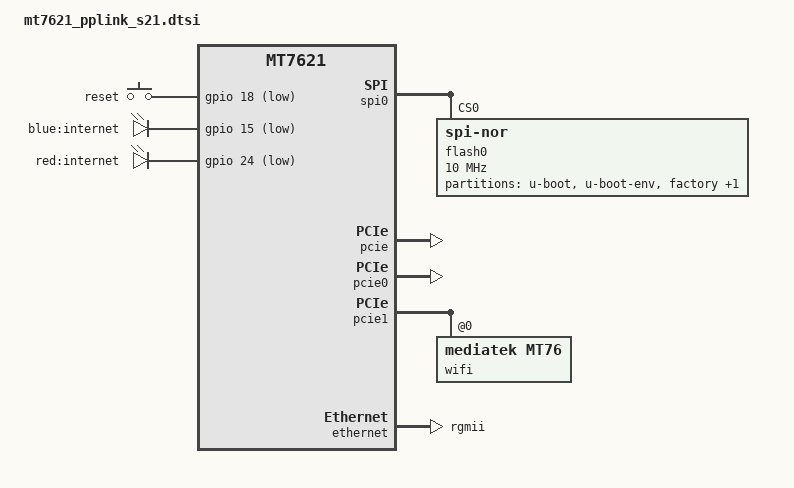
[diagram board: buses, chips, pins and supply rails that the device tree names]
#include "mt7621.dtsi"

#include <dt-bindings/gpio/gpio.h>
#include <dt-bindings/input/input.h>
#include <dt-bindings/leds/common.h>

/ {

	aliases {
		led-boot = &led_internet_blue;
		led-failsafe = &led_internet_red;
		led-running = &led_internet_blue;
		led-upgrade = &led_internet_red;
		label-mac-device = &gmac0;
	};

	chosen {
		bootargs = "console=ttyS0,115200";
	};

	keys {
		compatible = "gpio-keys";

		reset {
			label = "reset";
			gpios = <&gpio 18 GPIO_ACTIVE_LOW>;
			linux,code = <KEY_RESTART>;
		};
	};

	leds {
		compatible = "gpio-leds";

		led_internet_blue: internet_blue {
			label = "blue:internet";
			gpios = <&gpio 15 GPIO_ACTIVE_LOW>;
		};

		led_internet_red: internet_red {
			label = "red:internet";
			gpios = <&gpio 24 GPIO_ACTIVE_LOW>;
		};
	};

};

&i2c {
	status = "disabled";
};

&sdhci {
	status = "disabled";
};

&spi0 {
	status = "okay";

	flash0: flash@0 {
		compatible = "jedec,spi-nor";
		reg = <0>;
		spi-max-frequency = <10000000>;

		partitions {
			compatible = "fixed-partitions";
			#address-cells = <1>;
			#size-cells = <1>;

			partition@0 {
				label = "u-boot";
				reg = <0x0 0x30000>;
				read-only;
			};

			partition@30000 {
				label = "u-boot-env";
				reg = <0x30000 0x10000>;
				read-only;
			};

			partition@40000 {
				label = "factory";
				reg = <0x40000 0x10000>;
				read-only;

				nvmem-layout {
					compatible = "fixed-layout";
					#address-cells = <1>;
					#size-cells = <1>;

					eeprom_factory_0: eeprom@0 {
						reg = <0x0 0xe00>;
						// 原有修改：补全4KB完整EEPROM，适配2.4G/5G双射频
					};

					eeprom_factory_800: eeprom@800 {
						reg = <0x800 0xe00>;
					};
					wifimac_factory_4: macaddr@4 {
						reg = <0x4 0x6>;
						// 原有修改：修正WiFi MAC偏移
					};
				
					macaddr_factory_e000: macaddr@e000 {
						reg = <0xe000 0x6>;
					};

					macaddr_factory_e006: macaddr@e006 {
						reg = <0xe006 0x6>;
					};
				};
			};

			firmware: partition@50000 {
				compatible = "denx,uimage";
				label = "firmware";
			};
		};
	};
};

&pcie {
	status = "okay";
};

&pcie0 {
	status = "okay";
};
/*
&pcie1 {
	status = "okay";
	// 原有修改：强制开启PCIe1控制器

	wifi0: wifi@0,0 {
		compatible = "mediatek,mt7915e";
		reg = <0x0000 0 0 0 0>;
		nvmem-cells = <&eeprom_factory_0>, <&wifimac_factory_4>;
		nvmem-cell-names = "eeprom", "mac-address";
		mediatek,disable-radar-background;
		
	};
};
*/
&pcie1 {
	wifi@0,0 {
		compatible = "mediatek,mt76";
		reg = <0x0000 0 0 0 0>;
		nvmem-cells = <&eeprom_factory_0>;
		nvmem-cell-names = "eeprom";
		mediatek,disable-radar-background;
	};
};
// ★修改原因：原ethernet仅配置pinctrl，缺失RGMII时序与模式参数，导致千兆协商失败，锁死10M速率
&ethernet {
	pinctrl-0 = <&mdio_pins>, <&rgmii1_pins>;
	phy-mode = "rgmii";
	tx-delay = <4>;
	rx-delay = <2>;
};

&gmac0 {
	nvmem-cells = <&macaddr_factory_e000>;
	nvmem-cell-names = "mac-address";
};


&switch0 {
	// ★修改原因：原代码缺失MT7530交换机必需的CPU端口port@5，无CPU转发通道，DHCP无法获取IP、复位后全网失效
	ports {
		// CPU口，必须放在最前，mt7621交换机固定port5连接GMAC
		port@5 {
			status = "okay";
			label = "cpu";
			phy-mode = "rgmii";
		};

		port@0 {
			status = "okay";
			label = "lan1";
		};

		port@1 {
			status = "okay";
			label = "lan2";
		};

		port@2 {
			status = "okay";
			label = "lan3";
		};

		port@3 {
			status = "okay";
			label = "lan4";
		};
		port@4 {
			status = "okay";
			label = "wan";
			nvmem-cells = <&macaddr_factory_e006>;
			nvmem-cell-names = "mac-address";
		};
	};

	// ★修改原因：新增VLAN分区，固化LAN/WAN划分，恢复出厂不会丢失网络转发规则
	vlan {
		vlan@1 {
			ports = <0 1 2 3 5t>;
			label = "lan";
		};
		vlan@2 {
			ports = <4 5t>;
			label = "wan";
		};
	};
};

&state_default {
	// ★修改原因：原配置启用jtag复用GPIO，占用RGMII交换机引脚，硬件引脚冲突导致网口异常；注释jtag只保留wdt释放引脚资源
	gpio {
		groups = "wdt";
		function = "gpio";
	};
